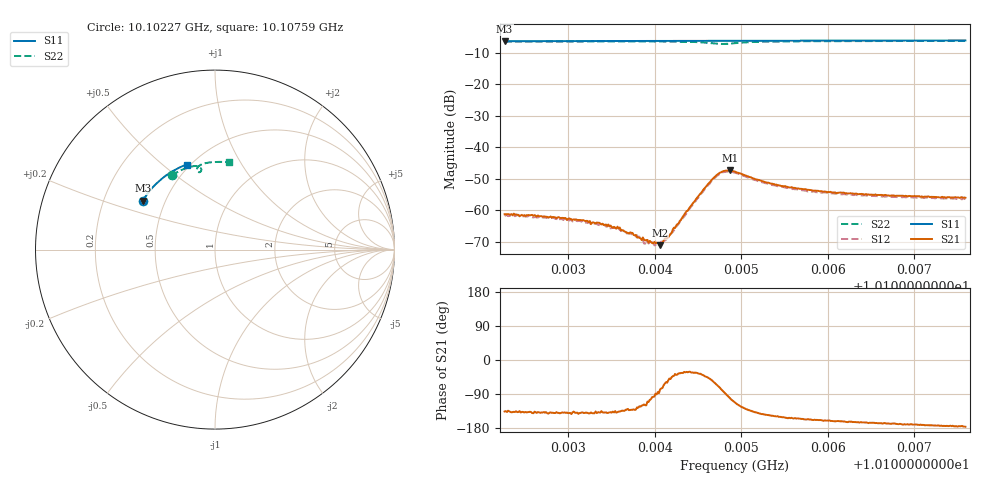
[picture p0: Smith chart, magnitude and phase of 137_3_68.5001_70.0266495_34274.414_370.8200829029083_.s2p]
#  HZ  S  RI  R  50.00
! Rohde & Schwarz Vector Network Analyzer
! Rohde-Schwarz,ZNB20-2Port,1311601062101988,3.16
! Created: UTC 3/20/2024, 4:54:43 PM
! freq[Hz]  re:S11  im:S11  re:S21  im:S21  re:S12  im:S12  re:S22  im:S22
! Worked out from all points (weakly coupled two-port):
!   401 points, 10.10227 GHz to 10.10759 GHz, reference 50 ohm
!   highest |S21| = -47.30 dB at 10.10488 GHz (marker M1); lowest = -71.0 dB at 10.10406 GHz (marker M2)
!   lowest |S11| = -6.3 dB at 10.10227 GHz (marker M3), VSWR 2.89, Z = 18.7 + j13.3 ohm
!   |S11| at or under -10 dB: nowhere
!   |S22| runs from -7.1 to -6.2 dB; largest |S21 - S12| = 0.00042
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1.0102266e10  -0.4026 0.2723  -0.000625 -0.000606  -0.000529 -0.00062  -0.2404 0.4138
1.0102812e10  -0.3844 0.3004  -0.000582 -0.000499  -0.000547 -0.000531  -0.2092 0.4321
1.0103158e10  -0.3718 0.3171  -0.000522 -0.000462  -0.000467 -0.000472  -0.1885 0.4422
1.0103371e10  -0.3639 0.3274  -0.000469 -0.000412  -0.000395 -0.000412  -0.1754 0.4481
1.0103531e10  -0.3575 0.3347  -0.00041 -0.000365  -0.000362 -0.000384  -0.1652 0.4524
1.0103744e10  -0.3489 0.3446  -0.00029 -0.000331  -0.000231 -0.000343  -0.151 0.4574
1.0103811e10  -0.3464 0.3475  -0.00022 -0.000303  -0.000189 -0.000322  -0.1464 0.4588
1.0103904e10  -0.3424 0.3518  -0.000166 -0.000294  -0.000131 -0.000316  -0.1398 0.4609
1.0104024e10  -0.3374 0.357  -3.57e-06 -0.000309  2.51e-05 -0.00027  -0.1308 0.463
1.010405e10  -0.3363 0.3582  1.46e-05 -0.000306  6.18e-05 -0.000277  -0.1288 0.4634
1.0104064e10  -0.3357 0.3588  6.16e-05 -0.000275  9.01e-05 -0.000271  -0.1279 0.4638
1.0104117e10  -0.3336 0.3612  0.000162 -0.000316  0.000162 -0.000288  -0.1235 0.4644
1.010417e10  -0.3312 0.3634  0.000262 -0.0003  0.000285 -0.00028  -0.1192 0.465
1.0104503e10  -0.3165 0.3772  0.00136 -0.000964  0.00138 -0.000773  -0.0877 0.4613
1.0104676e10  -0.3085 0.3842  0.00177 -0.00269  0.00195 -0.0024  -0.076 0.4435
1.010477e10  -0.3043 0.3877  0.000884 -0.00394  0.00121 -0.00372  -0.0829 0.4322
1.0104876e10  -0.2996 0.3918  -0.000914 -0.00422  -0.000515 -0.00409  -0.097 0.4348
1.010493e10  -0.2972 0.3939  -0.00154 -0.00384  -0.00118 -0.00381  -0.1003 0.4413
1.0105356e10  -0.2769 0.41  -0.00224 -0.00145  -0.00198 -0.00158  -0.076 0.4739
1.0105822e10  -0.2536 0.4261  -0.00193 -0.000776  -0.00173 -0.000933  -0.0417 0.4837
1.0106714e10  -0.2069 0.4529  -0.00167 -0.00036  -0.00156 -0.000503  0.0185 0.4889
1.0107594e10  -0.1581 0.4741  -0.00159 -0.000107  -0.00151 -0.000231  0.0757 0.4859
